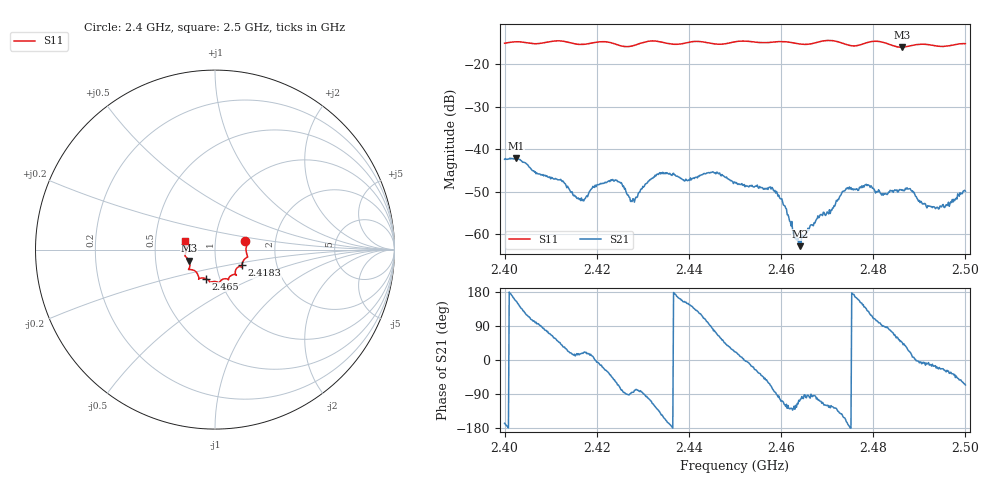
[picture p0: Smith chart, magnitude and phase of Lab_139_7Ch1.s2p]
# Hz S RI R 50
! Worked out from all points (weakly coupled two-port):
!   601 points, 2.4 GHz to 2.5 GHz, reference 50 ohm
!   highest |S21| = -42.10 dB at 2.4025 GHz (marker M1); lowest = -62.8 dB at 2.4642 GHz (marker M2)
!   lowest |S11| = -16.1 dB at 2.4863 GHz (marker M3), VSWR 1.37, Z = 37.1 - j4.68 ohm
!   |S11| at or under -10 dB: start of sweep to end of sweep
!   S12 and S22 are empty: the file has one direction only
!   S11 on the Smith chart (normalised r, x): 2.4 GHz: 1.40, +0.14; 2.4183 GHz: 1.33, -0.24; 2.465 GHz: 0.86, -0.29; 2.5 GHz: 0.71, +0.07
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2.4e9  0.1687 0.0469  -0.00744 -0.00173  0 0  0 0
2.4025e9  0.1787 0.0357  -0.00715 0.00325  0 0  0 0
2.412333e9  0.1813 -0.0414  0.00329 0.00278  0 0  0 0
2.416667e9  0.1549 -0.0686  0.00256 0.000799  0 0  0 0
2.418333e9  0.1501 -0.0872  0.003 0.000899  0 0  0 0
2.423833e9  0.1439 -0.0952  0.0026 -0.00336  0 0  0 0
2.427833e9  0.1144 -0.1166  0.000221 -0.00262  0 0  0 0
2.433333e9  0.1175 -0.1412  -0.00338 -0.00375  0 0  0 0
2.4395e9  0.0768 -0.1599  -0.00375 0.0022  0 0  0 0
2.445667e9  0.0566 -0.1622  0.00138 0.00509  0 0  0 0
2.45e9  0.0263 -0.1803  0.00381 0.00152  0 0  0 0
2.4585e9  -0.0205 -0.1799  0.000386 -0.0032  0 0  0 0
2.460667e9  -0.0284 -0.1807  -0.000997 -0.00195  0 0  0 0
2.463e9  -0.0353 -0.1716  -0.000579 -0.000689  0 0  0 0
2.464167e9  -0.0439 -0.1656  -0.000175 -0.000707  0 0  0 0
2.465e9  -0.0523 -0.1615  -4.15e-05 -0.00094  0 0  0 0
2.466667e9  -0.0712 -0.1577  -0.000122 -0.00129  0 0  0 0
2.474333e9  -0.0962 -0.1378  -0.00334 -0.000868  0 0  0 0
2.483333e9  -0.1412 -0.0966  0.000431 0.00311  0 0  0 0
2.486333e9  -0.1446 -0.0615  0.0023 0.00233  0 0  0 0
2.493833e9  -0.162 -0.0114  0.00198 -0.000656  0 0  0 0
2.5e9  -0.1666 0.0469  0.00131 -0.00293  0 0  0 0
